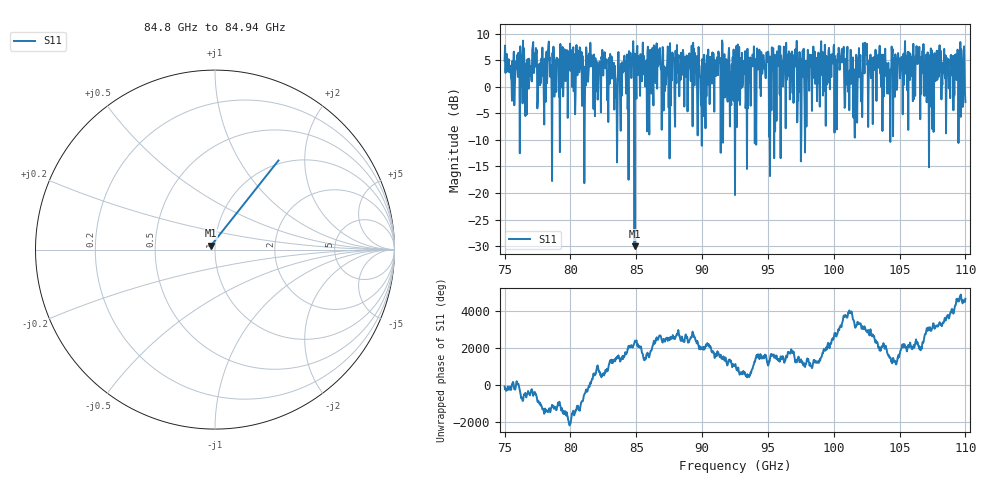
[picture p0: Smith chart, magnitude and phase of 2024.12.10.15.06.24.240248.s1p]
! Created with skrf (http://scikit-rf.org).
# GHz S RI R 50.0
!freq ReS11 ImS11
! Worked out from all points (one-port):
!   1001 points, 75 GHz to 110 GHz, reference 50 ohm
!   lowest |S11| = -30.0 dB at 84.87 GHz (marker M1), VSWR 1.07, Z = 47.7 + j2.11 ohm
!   |S11| at or under -10 dB: 76.15027 GHz to 76.15937 GHz (9.103 MHz wide, 0.012 % of centre); 78.58889 GHz to 78.61624 GHz (27.35 MHz wide, 0.0348 % of centre); 79.19393 GHz to 79.20397 GHz (10.03 MHz wide, 0.0127 % of centre) (the widest 3 of 23)
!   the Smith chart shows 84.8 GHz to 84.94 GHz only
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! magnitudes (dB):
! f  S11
! 75 GHz  4.9
! 75.63 GHz  1.5
! 79.38 GHz  -0.2
! 80.64 GHz  5.6
! 80.98 GHz  2.4
! 81.37 GHz  2.3
! 81.93 GHz  3.3
! 82.53 GHz  5.1
! 83.75 GHz  1.0
! 84.52 GHz  3.7
! 84.62 GHz  1.6
! 84.87 GHz  -30.0
! 86.62 GHz  7.1
! 88.12 GHz  2.7
! 92.5 GHz  -20.4
! 96.88 GHz  -1.2
! 97.4 GHz  6.5
! 98.14 GHz  -0.8
! 100.6 GHz  6.4
! 101.2 GHz  1.1
! 101.7 GHz  -3.7
! 102.4 GHz  6.3
! 102.8 GHz  6.1
! 105.6 GHz  6.6
! 106.4 GHz  4.3
! 107.4 GHz  -3.8
! 108 GHz  1.9
! 110 GHz  -2.9
